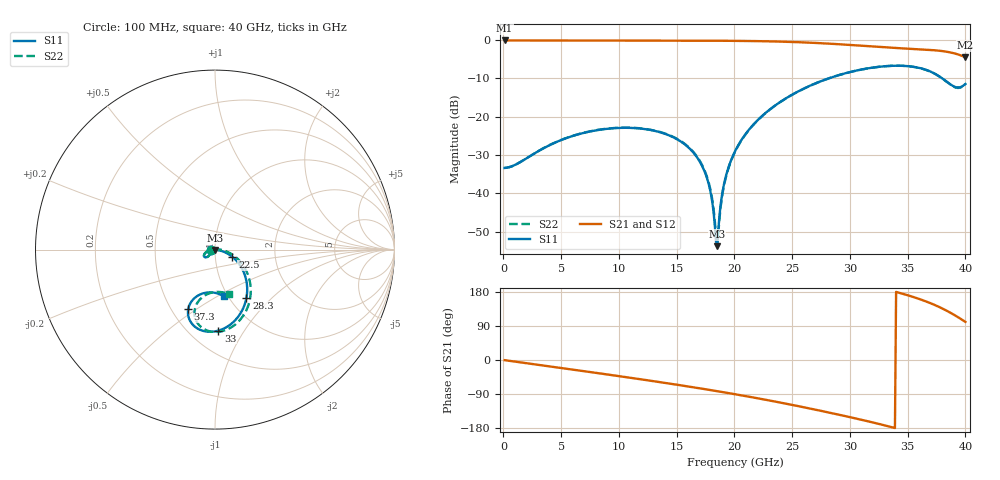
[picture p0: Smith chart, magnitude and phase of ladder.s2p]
! A_s4_d300_ap800: via ladder as kisi uses it (kisi_si::via_pbm, graded grid, junction model), ports at the via
# Hz S RI R 50
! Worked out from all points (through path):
!   400 points, 100 MHz to 40 GHz, reference 50 ohm
!   highest |S21| = -0.19 dB at 100 MHz (marker M1); lowest = -4.6 dB at 40 GHz (marker M2)
!   group delay of S21, straight-line fit = 16 ps
!   lowest |S11| = -53.7 dB at 18.5 GHz (marker M3), VSWR 1.00, Z = 50.1 - j0.199 ohm
!   |S11| at or under -10 dB: start of sweep to 28.22 GHz; 37.97 GHz to end of sweep
!   |S22| runs from -53.4 to -6.8 dB; largest |S21 - S12| = 0
!   S11 on the Smith chart (normalised r, x): 100 MHz: 0.96, -0.00; 22.5 GHz: 1.21, -0.10; 28.3 GHz: 1.20, -0.71; 33 GHz: 0.68, -0.77; 37.3 GHz: 0.61, -0.47; 40 GHz: 0.96, -0.54
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1e8  -0.0215 -0.000816  0.9785 -0.00718  0.9785 -0.00718  -0.0215 -0.000823
6.8e9  -0.0441 -0.0415  0.8564 -0.4693  0.8564 -0.4693  -0.0441 -0.0419
1.03e10  -0.0592 -0.0399  0.7032 -0.6755  0.7032 -0.6755  -0.0595 -0.0403
1.34e10  -0.0585 -0.0249  0.5203 -0.8235  0.5203 -0.8235  -0.0591 -0.0246
1.57e10  -0.0422 -0.0108  0.3576 -0.9052  0.3576 -0.9052  -0.0431 -0.00939
1.72e10  -0.0225 -0.004  0.2398 -0.9421  0.2398 -0.9421  -0.0234 -0.00133
1.8e10  -0.00896 -0.0022  0.1736 -0.9556  0.1736 -0.9556  -0.00972 0.00132
1.82e10  -0.00525 -0.00202  0.1567 -0.9582  0.1567 -0.9582  -0.00596 0.00173
1.84e10  -0.00141 -0.00197  0.1397 -0.9605  0.1397 -0.9605  -0.00207 0.00203
1.85e10  0.000547 -0.00199  0.1312 -0.9616  0.1312 -0.9616  -7.98e-05 0.00213
1.87e10  0.00457 -0.00213  0.114 -0.9634  0.114 -0.9634  0.00401 0.00223
1.9e10  0.0108 -0.00262  0.088 -0.9656  0.088 -0.9656  0.0104 0.00214
1.94e10  0.0195 -0.00382  0.0529 -0.9672  0.0529 -0.9672  0.0193 0.00149
2.01e10  0.0358 -0.00758  -0.00942 -0.9668  -0.00942 -0.9668  0.036 -0.00123
2.25e10  0.0971 -0.0405  -0.2275 -0.9288  -0.2275 -0.9288  0.1003 -0.0301
2.67e10  0.177 -0.1878  -0.5756 -0.7092  -0.5756 -0.7092  0.1927 -0.1711
2.83e10  0.1755 -0.2669  -0.6739 -0.5776  -0.6739 -0.5776  0.1983 -0.25
3.3e10  0.0193 -0.4513  -0.7907 -0.1056  -0.7907 -0.1056  0.0621 -0.4472
3.34e10  -0.00212 -0.456  -0.7882 -0.0617  -0.7882 -0.0617  0.0415 -0.4539
3.73e10  -0.1494 -0.3331  -0.6036 0.4101  -0.6036 0.4101  -0.1142 -0.3456
3.91e10  -0.0446 -0.2393  -0.3081 0.5852  -0.3081 0.5852  -0.018 -0.2397
4e10  0.0507 -0.2604  -0.109 0.5813  -0.109 0.5813  0.0807 -0.2495
